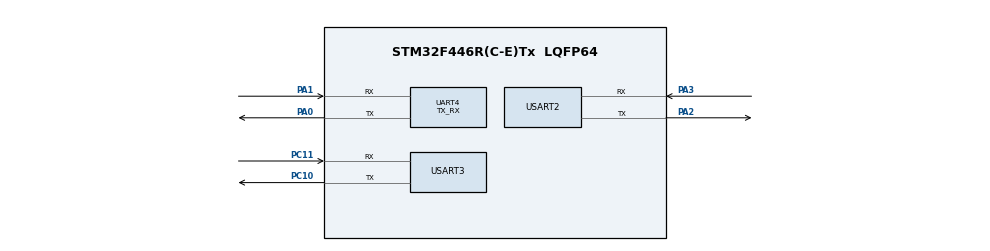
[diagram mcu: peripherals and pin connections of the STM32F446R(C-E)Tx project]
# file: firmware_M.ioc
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Dma.Request0=UART4_RX
Dma.UART4_RX.0.Direction=DMA_PERIPH_TO_MEMORY
Dma.UART4_RX.0.FIFOMode=DMA_FIFOMODE_DISABLE
Dma.UART4_RX.0.Instance=DMA1_Stream2
Dma.UART4_RX.0.MemDataAlignment=DMA_MDATAALIGN_BYTE
Dma.UART4_RX.0.MemInc=DMA_MINC_ENABLE
Dma.UART4_RX.0.Mode=DMA_CIRCULAR
Dma.UART4_RX.0.PeriphDataAlignment=DMA_PDATAALIGN_BYTE
Dma.UART4_RX.0.PeriphInc=DMA_PINC_DISABLE
Dma.UART4_RX.0.Priority=DMA_PRIORITY_LOW
Mcu.Family=STM32F4
Mcu.Name=STM32F446R(C-E)Tx
Mcu.Package=LQFP64
NVIC.DMA1_Stream2_IRQn=true\:0\:0\:false\:false\:true\:false\:true\:true
NVIC.PriorityGroup=NVIC_PRIORITYGROUP_4
NVIC.TIM6_DAC_IRQn=true\:0\:0\:false\:false\:true\:true\:true\:true
NVIC.UART4_IRQn=true\:0\:0\:false\:false\:true\:true\:true\:true
PA0-WKUP.Mode=Asynchronous
PA0-WKUP.Signal=UART4_TX
PA1.Mode=Asynchronous
PA1.Signal=UART4_RX
PA13.Mode=Serial_Wire
PA13.Signal=SYS_JTMS-SWDIO
PA14.Mode=Serial_Wire
PA14.Signal=SYS_JTCK-SWCLK
PA2.Mode=Asynchronous
PA2.Signal=USART2_TX
PA3.Mode=Asynchronous
PA3.Signal=USART2_RX
PC10.Mode=Asynchronous
PC10.Signal=USART3_TX
PC11.Mode=Asynchronous
PC11.Signal=USART3_RX
PH0-OSC_IN.Mode=HSE-External-Oscillator
PH0-OSC_IN.Signal=RCC_OSC_IN
PH1-OSC_OUT.Mode=HSE-External-Oscillator
PH1-OSC_OUT.Signal=RCC_OSC_OUT
ProjectManager.HeapSize=0x200
ProjectManager.StackSize=0x400
ProjectManager.TargetToolchain=STM32CubeIDE
RCC.AHBFreq_Value=180000000
RCC.APB1CLKDivider=RCC_HCLK_DIV4
RCC.APB1Freq_Value=45000000
RCC.APB1TimFreq_Value=90000000
RCC.APB2CLKDivider=RCC_HCLK_DIV2
RCC.APB2Freq_Value=90000000
RCC.APB2TimFreq_Value=180000000
RCC.CortexFreq_Value=180000000
RCC.HCLKFreq_Value=180000000
RCC.HSE_VALUE=16000000
RCC.PLLM=8
RCC.PLLN=180
RCC.SYSCLKFreq_VALUE=180000000
RCC.SYSCLKSource=RCC_SYSCLKSOURCE_PLLCLK
RCC.USBFreq_Value=180000000
RCC.VCOOutputFreq_Value=360000000
TIM6.Period=10000-1
TIM6.Prescaler=180-1
UART4.Mode=MODE_TX_RX
UART4.VirtualMode=Asynchronous
USART2.VirtualMode=VM_ASYNC
USART3.VirtualMode=VM_ASYNC
VP_TIM6_VS_ClockSourceINT.Mode=Enable_Timer
board=custom

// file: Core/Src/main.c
/* USER CODE BEGIN Header */
/**
  ******************************************************************************
  * @file           : main.c
  * @brief          : Main program body
  ******************************************************************************
  * @attention
  *
  * Copyright (c) 2023 STMicroelectronics.
  * All rights reserved.
  *
  * This software is licensed under terms that can be found in the LICENSE file
  * in the root directory of this software component.
  * If no LICENSE file comes with this software, it is provided AS-IS.
  *
  ******************************************************************************
  */
/* USER CODE END Header */
#include "main.h"
#include "dma.h"
#include "tim.h"
#include "usart.h"
#include "gpio.h"

/* USER CODE BEGIN Includes */

#include "iBus.h"
#include "Protocol2.h"

/* USER CODE END Includes */

/* USER CODE BEGIN PV */

IBUS ibus;
uint8_t ibusRX[IBUS_RX_BUFFER_SIZE] = {0, };

PROTOCOL2 protocol2;

/* USER CODE END PV */

void SystemClock_Config(void);

int main(void)
{

  /* MCU Configuration--------------------------------------------------------*/

  /* Reset of all peripherals, Initializes the Flash interface and the Systick. */
  LL_APB2_GRP1_EnableClock(LL_APB2_GRP1_PERIPH_SYSCFG);
  LL_APB1_GRP1_EnableClock(LL_APB1_GRP1_PERIPH_PWR);

  /* System interrupt init*/
  NVIC_SetPriorityGrouping(NVIC_PRIORITYGROUP_4);

  /* SysTick_IRQn interrupt configuration */
  NVIC_SetPriority(SysTick_IRQn, NVIC_EncodePriority(NVIC_GetPriorityGrouping(),15, 0));

  /* Configure the system clock */
  SystemClock_Config();

  /* Initialize all configured peripherals */
  MX_GPIO_Init();
  MX_DMA_Init();
  MX_UART4_Init();
  MX_USART2_UART_Init();
  MX_USART3_UART_Init();
  MX_TIM6_Init();
  /* USER CODE BEGIN 2 */

  //uart
  LL_DMA_ConfigAddresses(DMA1,
		  LL_DMA_STREAM_2,
		  LL_USART_DMA_GetRegAddr(UART4),
		  ibusRX,
		  LL_DMA_DIRECTION_PERIPH_TO_MEMORY);
  LL_DMA_SetDataLength(DMA1, LL_DMA_STREAM_2, sizeof(ibusRX));
  LL_DMA_EnableStream(DMA1, LL_DMA_STREAM_2);
  LL_USART_EnableIT_IDLE(UART4);
  LL_USART_EnableDMAReq_RX(UART4);

  //timer
  LL_TIM_EnableIT_UPDATE(TIM6);
  LL_TIM_EnableCounter(TIM6);

  ibus.pan = 2048;
  ibus.tilt = 1024;

  /* USER CODE END 2 */

  /* Infinite loop */
  while (1)
  {

  }
}

void SystemClock_Config(void)
{
  LL_FLASH_SetLatency(LL_FLASH_LATENCY_5);
  while(LL_FLASH_GetLatency()!= LL_FLASH_LATENCY_5)
  {
  }
  LL_PWR_SetRegulVoltageScaling(LL_PWR_REGU_VOLTAGE_SCALE1);
  LL_PWR_EnableOverDriveMode();
  LL_RCC_HSI_SetCalibTrimming(16);
  LL_RCC_HSI_Enable();

   /* Wait till HSI is ready */
  while(LL_RCC_HSI_IsReady() != 1)
  {

  }
  LL_RCC_PLL_ConfigDomain_SYS(LL_RCC_PLLSOURCE_HSI, LL_RCC_PLLM_DIV_8, 180, LL_RCC_PLLP_DIV_2);
  LL_RCC_PLL_Enable();

   /* Wait till PLL is ready */
  while(LL_RCC_PLL_IsReady() != 1)
  {

  }
  while (LL_PWR_IsActiveFlag_VOS() == 0)
  {
  }
  LL_RCC_SetAHBPrescaler(LL_RCC_SYSCLK_DIV_1);
  LL_RCC_SetAPB1Prescaler(LL_RCC_APB1_DIV_4);
  LL_RCC_SetAPB2Prescaler(LL_RCC_APB2_DIV_2);
  LL_RCC_SetSysClkSource(LL_RCC_SYS_CLKSOURCE_PLL);

   /* Wait till System clock is ready */
  while(LL_RCC_GetSysClkSource() != LL_RCC_SYS_CLKSOURCE_STATUS_PLL)
  {

  }
  LL_Init1msTick(180000000);
  LL_SetSystemCoreClock(180000000);
  LL_RCC_SetTIMPrescaler(LL_RCC_TIM_PRESCALER_TWICE);
}

void Error_Handler(void)
{
  __disable_irq();
  while (1)
  {
  }
}
